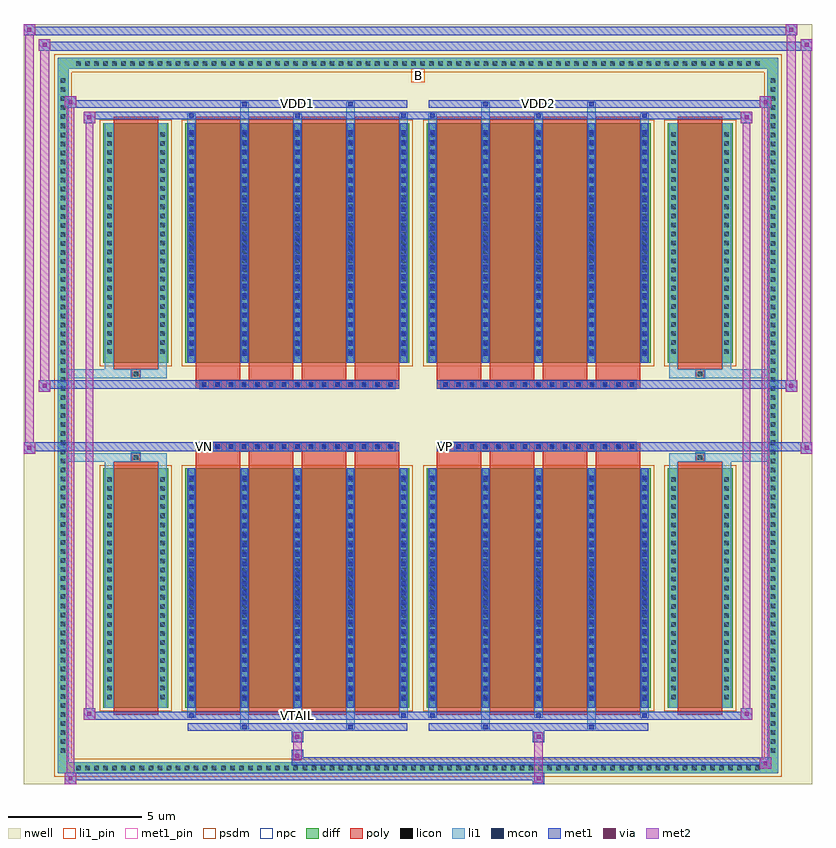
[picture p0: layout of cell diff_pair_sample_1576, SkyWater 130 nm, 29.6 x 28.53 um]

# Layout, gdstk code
import gdstk
lib = gdstk.Library(unit=1e-6, precision=5e-09)
def R(c, l, rs):  # rectangles x0, y0, x1, y1
    for r in rs: c.add(gdstk.rectangle(r[:2], r[2:], *l))
def A(c, l, x, y, w, h, nx, ny, dx, dy):  # array of equal rectangles
    R(c, l, [(x+i*dx, y+j*dy, x+i*dx+w, y+j*dy+h) for i in range(nx) for j in range(ny)])
def P(c, l, *ps):  # polygons
    for p in ps: c.add(gdstk.Polygon(p, *l))
nwell = (64, 20)
diff = (65, 20)
poly = (66, 20)
licon = (66, 44)
li1_pin = (67, 16)
li1 = (67, 20)
mcon = (67, 44)
met1_pin = (68, 16)
met1 = (68, 20)
via = (68, 44)
met2 = (69, 20)
psdm = (94, 20)
npc = (95, 20)

diff_pair_sample_1576 = lib.new_cell('diff_pair_sample_1576')
R(diff_pair_sample_1576, nwell, [(-14.8,-13.83,14.8,14.7), (-12.12,-12.02,-0.01,-0.8), (0.01,-12.02,12.12,-0.8), (-12.12,0.8,-0.01,12.02), (0.01,0.8,12.12,12.02)])
A(diff_pair_sample_1576, diff, -12.955, -13.43, 0.41, 0.41, 76, 2, 0.34, 26.45)
A(diff_pair_sample_1576, diff, -13.53, -12.785, 0.41, 0.41, 1, 75, 0, 0.34)
A(diff_pair_sample_1576, diff, 13.12, -12.785, 0.41, 0.41, 1, 75, 0, 0.34)
R(diff_pair_sample_1576, diff, [(-12.955,-13.43,12.955,-13.02), (-13.53,-12.785,-13.12,12.785), (13.12,-12.785,13.53,12.785), (-11.81,-10.975,-9.37,-1.985), (-8.73,-10.975,-0.32,-1.985), (0.32,-10.975,8.73,-1.985), (9.37,-10.975,11.81,-1.985), (-11.81,1.985,-9.37,10.975), (-8.73,1.985,-0.32,10.975), (0.32,1.985,8.73,10.975), (9.37,1.985,11.81,10.975), (-12.955,13.02,12.955,13.43)])
P(diff_pair_sample_1576, diff, [(13.53,13.43),(-13.53,13.43),(-13.53,-13.02),(-13.12,-13.02),(-13.12,13.02),(13.12,13.02),(13.12,-13.02),(-13.12,-13.02),(-13.53,-13.02),(-13.53,-13.43),(13.53,-13.43)])
A(diff_pair_sample_1576, poly, -8.34, -11.225, 1.66, 9.49, 4, 2, 1.99, 12.96)
A(diff_pair_sample_1576, poly, 0.71, -11.225, 1.66, 9.49, 4, 2, 1.99, 12.96)
A(diff_pair_sample_1576, poly, -8.34, -1.735, 1.66, 0.405, 4, 2, 1.99, 3.065)
A(diff_pair_sample_1576, poly, 0.71, -1.735, 1.66, 0.405, 4, 2, 1.99, 3.065)
A(diff_pair_sample_1576, poly, -8.19, -1.33, 0.33, 0.33, 15, 2, 0.5, 2.33)
A(diff_pair_sample_1576, poly, 0.86, -1.33, 0.33, 0.33, 15, 2, 0.5, 2.33)
R(diff_pair_sample_1576, poly, [(-11.42,-11.225,-9.76,-1.735), (9.76,-11.225,11.42,-1.735), (-10.755,-1.735,-10.425,-1.405), (-10.755,-1.735,-10.425,-1.405), (10.425,-1.735,10.755,-1.405), (10.425,-1.735,10.755,-1.405), (-8.34,-1.33,-0.71,-1), (0.71,-1.33,8.34,-1), (-8.34,1,-0.71,1.33), (0.71,1,8.34,1.33), (-10.755,1.405,-10.425,1.735), (-10.755,1.405,-10.425,1.735), (10.425,1.405,10.755,1.735), (10.425,1.405,10.755,1.735), (-11.42,1.735,-9.76,11.225), (9.76,1.735,11.42,11.225)])
A(diff_pair_sample_1576, licon, -12.835, -13.31, 0.17, 0.17, 76, 2, 0.34, 26.45)
A(diff_pair_sample_1576, licon, -13.41, -12.665, 0.17, 0.17, 1, 75, 0, 0.34)
A(diff_pair_sample_1576, licon, 13.24, -12.665, 0.17, 0.17, 1, 75, 0, 0.34)
A(diff_pair_sample_1576, licon, -11.67, -10.645, 0.17, 0.17, 1, 25, 0, 0.34)
A(diff_pair_sample_1576, licon, -9.68, -10.645, 0.17, 0.17, 1, 25, 0, 0.34)
A(diff_pair_sample_1576, licon, -8.59, -10.645, 0.17, 0.17, 5, 25, 1.99, 0.34)
A(diff_pair_sample_1576, licon, 0.46, -10.645, 0.17, 0.17, 5, 25, 1.99, 0.34)
A(diff_pair_sample_1576, licon, 9.51, -10.645, 0.17, 0.17, 1, 25, 0, 0.34)
A(diff_pair_sample_1576, licon, 11.5, -10.645, 0.17, 0.17, 1, 25, 0, 0.34)
A(diff_pair_sample_1576, licon, -8.11, -1.25, 0.17, 0.17, 15, 2, 0.5, 2.33)
A(diff_pair_sample_1576, licon, 0.94, -1.25, 0.17, 0.17, 15, 2, 0.5, 2.33)
A(diff_pair_sample_1576, licon, -11.67, 2.315, 0.17, 0.17, 1, 25, 0, 0.34)
A(diff_pair_sample_1576, licon, -9.68, 2.315, 0.17, 0.17, 1, 25, 0, 0.34)
A(diff_pair_sample_1576, licon, -8.59, 2.315, 0.17, 0.17, 5, 25, 1.99, 0.34)
A(diff_pair_sample_1576, licon, 0.46, 2.315, 0.17, 0.17, 5, 25, 1.99, 0.34)
A(diff_pair_sample_1576, licon, 9.51, 2.315, 0.17, 0.17, 1, 25, 0, 0.34)
A(diff_pair_sample_1576, licon, 11.5, 2.315, 0.17, 0.17, 1, 25, 0, 0.34)
R(diff_pair_sample_1576, licon, [(-10.675,-1.655,-10.505,-1.485), (10.505,-1.655,10.675,-1.485), (-10.675,1.485,-10.505,1.655), (10.505,1.485,10.675,1.655)])
R(diff_pair_sample_1576, li1_pin, [(-0.25,12.52,0.25,13.02)])
A(diff_pair_sample_1576, li1, -12.915, -13.39, 0.33, 0.33, 76, 2, 0.34, 26.45)
A(diff_pair_sample_1576, li1, -13.49, -12.745, 0.33, 0.33, 1, 75, 0, 0.34)
A(diff_pair_sample_1576, li1, 13.16, -12.745, 0.33, 0.33, 1, 75, 0, 0.34)
A(diff_pair_sample_1576, li1, -8.67, -11.35, 0.33, 0.375, 3, 2, 3.98, 22.325)
A(diff_pair_sample_1576, li1, -8.59, -11.35, 0.17, 0.17, 3, 2, 3.98, 22.53)
A(diff_pair_sample_1576, li1, 0.38, -11.35, 0.33, 0.375, 3, 2, 3.98, 22.325)
A(diff_pair_sample_1576, li1, 0.46, -11.35, 0.17, 0.17, 3, 2, 3.98, 22.53)
A(diff_pair_sample_1576, li1, -8.67, -10.975, 0.33, 8.99, 5, 2, 1.99, 12.96)
A(diff_pair_sample_1576, li1, 0.38, -10.975, 0.33, 8.99, 5, 2, 1.99, 12.96)
A(diff_pair_sample_1576, li1, -11.75, -10.725, 0.33, 0.33, 1, 25, 0, 0.34)
A(diff_pair_sample_1576, li1, -9.76, -10.725, 0.33, 0.33, 1, 25, 0, 0.34)
A(diff_pair_sample_1576, li1, -8.67, -10.725, 0.33, 0.33, 5, 25, 1.99, 0.34)
A(diff_pair_sample_1576, li1, 0.38, -10.725, 0.33, 0.33, 5, 25, 1.99, 0.34)
A(diff_pair_sample_1576, li1, 9.43, -10.725, 0.33, 0.33, 1, 25, 0, 0.34)
A(diff_pair_sample_1576, li1, 11.42, -10.725, 0.33, 0.33, 1, 25, 0, 0.34)
A(diff_pair_sample_1576, li1, -8.59, -10.705, 0.17, 0.17, 5, 24, 1.99, 0.36)
A(diff_pair_sample_1576, li1, -8.59, -10.705, 0.17, 8.45, 5, 2, 1.99, 12.96)
A(diff_pair_sample_1576, li1, 0.46, -10.705, 0.17, 0.17, 5, 24, 1.99, 0.36)
A(diff_pair_sample_1576, li1, 0.46, -10.705, 0.17, 8.45, 5, 2, 1.99, 12.96)
A(diff_pair_sample_1576, li1, -8.19, -1.33, 0.33, 0.33, 15, 2, 0.5, 2.33)
A(diff_pair_sample_1576, li1, 0.86, -1.33, 0.33, 0.33, 15, 2, 0.5, 2.33)
A(diff_pair_sample_1576, li1, -11.75, 2.235, 0.33, 0.33, 1, 25, 0, 0.34)
A(diff_pair_sample_1576, li1, -9.76, 2.235, 0.33, 0.33, 1, 25, 0, 0.34)
A(diff_pair_sample_1576, li1, -8.67, 2.235, 0.33, 0.33, 5, 25, 1.99, 0.34)
A(diff_pair_sample_1576, li1, 0.38, 2.235, 0.33, 0.33, 5, 25, 1.99, 0.34)
A(diff_pair_sample_1576, li1, 9.43, 2.235, 0.33, 0.33, 1, 25, 0, 0.34)
A(diff_pair_sample_1576, li1, 11.42, 2.235, 0.33, 0.33, 1, 25, 0, 0.34)
A(diff_pair_sample_1576, li1, -8.59, 2.255, 0.17, 0.17, 5, 24, 1.99, 0.36)
A(diff_pair_sample_1576, li1, 0.46, 2.255, 0.17, 0.17, 5, 24, 1.99, 0.36)
R(diff_pair_sample_1576, li1, [(-13.53,-13.43,-13.12,-13.02), (-13.53,-13.43,-13.12,-13.02), (-13.12,-13.43,13.12,-13.02), (13.12,-13.43,13.53,-13.02), (13.12,-13.43,13.53,-13.02), (-13.53,-13.02,-13.12,13.02), (13.12,-13.02,13.53,13.02), (-6.68,-11.78,-6.35,-10.975), (-6.6,-11.78,-6.43,-11.61), (-2.7,-11.78,-2.37,-10.975), (-2.62,-11.78,-2.45,-11.61), (2.37,-11.78,2.7,-10.975), (2.45,-11.78,2.62,-11.61), (6.35,-11.78,6.68,-10.975), (6.43,-11.78,6.6,-11.61), (-11.75,-10.975,-11.42,-1.985), (-9.76,-10.975,-9.43,-1.985), (9.43,-10.975,9.76,-1.985), (11.42,-10.975,11.75,-1.985), (-11.75,-1.985,-11.42,-1.405), (-9.76,-1.985,-9.43,-1.405), (9.43,-1.985,9.76,-1.405), (11.42,-1.985,11.75,-1.405), (-13.53,-1.735,-10.755,-1.405), (-11.75,-1.735,-10.755,-1.405), (-10.755,-1.735,-10.425,-1.405), (-10.425,-1.735,-9.43,-1.405), (9.43,-1.735,10.425,-1.405), (10.425,-1.735,10.755,-1.405), (10.425,-1.735,13.53,-1.405), (10.755,-1.735,11.75,-1.405), (-13.53,1.405,-10.755,1.735), (-11.75,1.405,-10.755,1.735), (-11.75,1.405,-11.42,1.985), (-10.755,1.405,-10.425,1.735), (-10.425,1.405,-9.43,1.735), (-9.76,1.405,-9.43,1.985), (9.43,1.405,10.425,1.735), (9.43,1.405,9.76,1.985), (10.425,1.405,10.755,1.735), (10.425,1.405,13.53,1.735), (10.755,1.405,11.75,1.735), (11.42,1.405,11.75,1.985), (-11.75,1.985,-11.42,10.975), (-9.76,1.985,-9.43,10.975), (9.43,1.985,9.76,10.975), (11.42,1.985,11.75,10.975), (-6.68,10.975,-6.35,11.78), (-2.7,10.975,-2.37,11.78), (2.37,10.975,2.7,11.78), (6.35,10.975,6.68,11.78), (-6.6,11.61,-6.43,11.78), (-2.62,11.61,-2.45,11.78), (2.45,11.61,2.62,11.78), (6.43,11.61,6.6,11.78), (-13.53,13.02,-13.12,13.43), (-13.53,13.02,-13.12,13.43), (-13.12,13.02,13.12,13.43), (13.12,13.02,13.53,13.43), (13.12,13.02,13.53,13.43)])
A(diff_pair_sample_1576, mcon, -8.59, -11.35, 0.17, 0.17, 3, 2, 3.98, 22.53)
A(diff_pair_sample_1576, mcon, 0.46, -11.35, 0.17, 0.17, 3, 2, 3.98, 22.53)
A(diff_pair_sample_1576, mcon, -8.59, -10.705, 0.17, 0.17, 5, 24, 1.99, 0.36)
A(diff_pair_sample_1576, mcon, 0.46, -10.705, 0.17, 0.17, 5, 24, 1.99, 0.36)
A(diff_pair_sample_1576, mcon, -8.11, -1.25, 0.17, 0.17, 15, 2, 0.5, 2.33)
A(diff_pair_sample_1576, mcon, 0.94, -1.25, 0.17, 0.17, 15, 2, 0.5, 2.33)
A(diff_pair_sample_1576, mcon, -8.59, 2.255, 0.17, 0.17, 5, 24, 1.99, 0.36)
A(diff_pair_sample_1576, mcon, 0.46, 2.255, 0.17, 0.17, 5, 24, 1.99, 0.36)
R(diff_pair_sample_1576, mcon, [(-6.6,-11.78,-6.43,-11.61), (-2.62,-11.78,-2.45,-11.61), (2.45,-11.78,2.62,-11.61), (6.43,-11.78,6.6,-11.61), (-6.6,11.61,-6.43,11.78), (-2.62,11.61,-2.45,11.78), (2.45,11.61,2.62,11.78), (6.43,11.61,6.6,11.78)])
R(diff_pair_sample_1576, met1_pin, [(-4.66,-11.39,-4.39,-11.12), (-8.16,-1.29,-7.89,-1.02), (0.89,-1.29,1.16,-1.02), (-4.66,11.57,-4.39,11.84), (4.39,11.57,4.66,11.84)])
A(diff_pair_sample_1576, met1, -8.65, -11.41, 0.29, 0.29, 3, 2, 3.98, 22.53)
A(diff_pair_sample_1576, met1, 0.4, -11.41, 0.29, 0.29, 3, 2, 3.98, 22.53)
A(diff_pair_sample_1576, met1, -8.65, -10.975, 0.29, 8.99, 5, 2, 1.99, 12.96)
A(diff_pair_sample_1576, met1, 0.4, -10.975, 0.29, 8.99, 5, 2, 1.99, 12.96)
A(diff_pair_sample_1576, met1, -8.65, -10.765, 0.29, 0.29, 5, 24, 1.99, 0.36)
A(diff_pair_sample_1576, met1, 0.4, -10.765, 0.29, 0.29, 5, 24, 1.99, 0.36)
A(diff_pair_sample_1576, met1, -8.17, -1.31, 0.29, 0.29, 15, 2, 0.5, 2.33)
A(diff_pair_sample_1576, met1, 0.88, -1.31, 0.29, 0.29, 15, 2, 0.5, 2.33)
A(diff_pair_sample_1576, met1, -8.65, 2.195, 0.29, 0.29, 5, 24, 1.99, 0.36)
A(diff_pair_sample_1576, met1, 0.4, 2.195, 0.29, 0.29, 5, 24, 1.99, 0.36)
R(diff_pair_sample_1576, met1, [(-13.26,-13.83,-12.83,-13.4), (4.31,-13.83,4.74,-13.4), (-13.26,-13.69,4.74,-13.4), (12.83,-13.26,13.26,-12.83), (-4.74,-13.12,13.26,-12.83), (-4.74,-12.98,-4.31,-12.55), (-4.74,-12.27,-4.31,-11.84), (4.31,-12.27,4.74,-11.84), (-8.65,-11.84,-0.4,-11.55), (-6.66,-11.84,-6.37,-11.55), (-2.68,-11.84,-2.39,-11.55), (0.4,-11.84,8.65,-11.55), (2.39,-11.84,2.68,-11.55), (6.37,-11.84,6.66,-11.55), (-12.55,-11.41,-12.12,-10.98), (-12.55,-11.41,-8.65,-11.12), (-8.65,-11.41,-0.4,-11.12), (-0.4,-11.41,0.4,-11.12), (0.4,-11.41,8.65,-11.12), (8.65,-11.41,12.55,-11.12), (12.12,-11.41,12.55,-10.98), (-14.8,-1.43,-14.37,-1), (14.37,-1.43,14.8,-1), (-14.8,-1.33,-0.71,-1), (-8.34,-1.33,-0.71,-1), (0.71,-1.33,8.34,-1), (0.71,-1.33,14.8,-1), (-14.23,0.9,-13.8,1.33), (13.8,0.9,14.23,1.33), (-14.23,1,-8.34,1.33), (-8.34,1,-0.71,1.33), (0.71,1,8.34,1.33), (8.34,1,14.23,1.33), (-12.55,10.98,-12.12,11.41), (12.12,10.98,12.55,11.41), (-12.55,11.12,-8.65,11.41), (-8.65,11.12,-0.4,11.41), (-0.4,11.12,0.4,11.41), (0.4,11.12,8.65,11.41), (8.65,11.12,12.55,11.41), (-13.26,11.55,-12.83,11.98), (-13.26,11.55,-8.65,11.84), (-8.65,11.55,-0.4,11.84), (-6.66,11.55,-6.37,11.84), (-2.68,11.55,-2.39,11.84), (0.4,11.55,8.65,11.84), (2.39,11.55,2.68,11.84), (6.37,11.55,6.66,11.84), (8.65,11.55,13.26,11.84), (12.83,11.55,13.26,11.98), (-14.23,13.7,-13.8,14.13), (-14.23,13.7,-12.12,14.03), (-12.12,13.7,12.12,14.03), (12.12,13.7,14.8,14.03), (14.37,13.7,14.8,14.13), (-14.8,14.27,-14.37,14.7), (-14.8,14.27,-12.12,14.6), (-12.12,14.27,12.12,14.6), (12.12,14.27,14.23,14.6), (13.8,14.27,14.23,14.7)])
R(diff_pair_sample_1576, via, [(-13.12,-13.69,-12.97,-13.54), (4.45,-13.69,4.6,-13.54), (12.97,-13.12,13.12,-12.97), (-4.6,-12.84,-4.45,-12.69), (-4.6,-12.13,-4.45,-11.98), (4.45,-12.13,4.6,-11.98), (-12.41,-11.27,-12.26,-11.12), (12.26,-11.27,12.41,-11.12), (-14.66,-1.29,-14.51,-1.14), (14.51,-1.29,14.66,-1.14), (-14.09,1.04,-13.94,1.19), (13.94,1.04,14.09,1.19), (-12.41,11.12,-12.26,11.27), (12.26,11.12,12.41,11.27), (-13.12,11.69,-12.97,11.84), (12.97,11.69,13.12,11.84), (-14.09,13.84,-13.94,13.99), (14.51,13.84,14.66,13.99), (-14.66,14.41,-14.51,14.56), (13.94,14.41,14.09,14.56)])
R(diff_pair_sample_1576, met2, [(-13.26,-13.83,-12.83,-13.4), (-13.19,-13.83,-12.9,11.98), (-12.9,-13.83,-12.83,-13.4), (-13.21,-13.78,-12.88,-13.45), (4.36,-13.78,4.69,-13.45), (4.36,-13.45,4.69,-12.22), (12.83,-13.26,13.26,-12.83), (12.9,-13.26,13.19,11.98), (13.19,-13.26,13.26,-12.83), (12.88,-13.21,13.21,-12.88), (-4.69,-12.93,-4.36,-12.6), (-4.69,-12.6,-4.36,-12.22), (-4.69,-12.22,-4.36,-11.89), (4.36,-12.22,4.69,-11.89), (-12.55,-11.41,-12.12,-10.98), (-12.48,-11.41,-12.19,11.41), (-12.19,-11.41,-12.12,-10.98), (12.12,-11.41,12.55,-10.98), (12.19,-11.41,12.48,11.41), (12.48,-11.41,12.55,-10.98), (-12.5,-11.36,-12.17,-11.03), (12.17,-11.36,12.5,-11.03), (-14.8,-1.43,-14.37,-1), (-14.75,-1.43,-14.42,14.7), (-14.42,-1.43,-14.37,-1), (14.37,-1.43,14.8,-1), (14.42,-1.43,14.75,14.13), (14.75,-1.43,14.8,-1), (-14.75,-1.38,-14.42,-1.05), (14.42,-1.38,14.75,-1.05), (-14.23,0.9,-13.8,1.33), (-14.18,0.9,-13.85,14.13), (-13.85,0.9,-13.8,1.33), (13.8,0.9,14.23,1.33), (13.85,0.9,14.18,14.7), (14.18,0.9,14.23,1.33), (-14.18,0.95,-13.85,1.28), (13.85,0.95,14.18,1.28), (-12.55,10.98,-12.12,11.41), (-12.19,10.98,-12.12,11.41), (12.12,10.98,12.55,11.41), (12.48,10.98,12.55,11.41), (-12.5,11.03,-12.17,11.36), (12.17,11.03,12.5,11.36), (-13.26,11.55,-12.83,11.98), (-12.9,11.55,-12.83,11.98), (12.83,11.55,13.26,11.98), (13.19,11.55,13.26,11.98), (-13.21,11.6,-12.88,11.93), (12.88,11.6,13.21,11.93), (-14.23,13.7,-13.8,14.13), (-13.85,13.7,-13.8,14.13), (14.37,13.7,14.8,14.13), (14.75,13.7,14.8,14.13), (-14.18,13.75,-13.85,14.08), (14.42,13.75,14.75,14.08), (-14.8,14.27,-14.37,14.7), (-14.42,14.27,-14.37,14.7), (13.8,14.27,14.23,14.7), (14.18,14.27,14.23,14.7), (-14.75,14.32,-14.42,14.65), (13.85,14.32,14.18,14.65)])
R(diff_pair_sample_1576, psdm, [(-11.94,-11.105,-9.24,-1.855), (-8.86,-11.105,-0.19,-1.855), (0.19,-11.105,8.86,-1.855), (9.24,-11.105,11.94,-1.855), (-11.94,1.855,-9.24,11.105), (-8.86,1.855,-0.19,11.105), (0.19,1.855,8.86,11.105), (9.24,1.855,11.94,11.105)])
P(diff_pair_sample_1576, psdm, [(13.66,13.56),(-13.66,13.56),(-13.66,-12.89),(-12.99,-12.89),(-12.99,12.89),(12.99,12.89),(12.99,-12.89),(-12.99,-12.89),(-13.66,-12.89),(-13.66,-13.56),(13.66,-13.56)])
A(diff_pair_sample_1576, npc, -8.21, -1.35, 0.37, 0.37, 15, 2, 0.5, 2.33)
A(diff_pair_sample_1576, npc, 0.84, -1.35, 0.37, 0.37, 15, 2, 0.5, 2.33)
R(diff_pair_sample_1576, npc, [(-10.775,-1.755,-10.405,-1.385), (10.405,-1.755,10.775,-1.385), (-8.21,-1.35,-7.34,-0.98), (-8.21,-1.35,-7.34,-0.98), (-7.71,-1.35,-6.84,-0.98), (-7.71,-1.35,-6.84,-0.98), (-7.21,-1.35,-6.34,-0.98), (-7.21,-1.35,-6.34,-0.98), (-6.71,-1.35,-5.84,-0.98), (-6.71,-1.35,-5.84,-0.98), (-6.21,-1.35,-5.34,-0.98), (-6.21,-1.35,-5.34,-0.98), (-5.71,-1.35,-4.84,-0.98), (-5.71,-1.35,-4.84,-0.98), (-5.21,-1.35,-4.34,-0.98), (-5.21,-1.35,-4.34,-0.98), (-4.71,-1.35,-3.84,-0.98), (-4.71,-1.35,-3.84,-0.98), (-4.21,-1.35,-3.34,-0.98), (-4.21,-1.35,-3.34,-0.98), (-3.71,-1.35,-2.84,-0.98), (-3.71,-1.35,-2.84,-0.98), (-3.21,-1.35,-2.34,-0.98), (-3.21,-1.35,-2.34,-0.98), (-2.71,-1.35,-1.84,-0.98), (-2.71,-1.35,-1.84,-0.98), (-2.21,-1.35,-1.34,-0.98), (-2.21,-1.35,-1.34,-0.98), (-1.71,-1.35,-0.84,-0.98), (-1.71,-1.35,-0.84,-0.98), (0.84,-1.35,1.71,-0.98), (0.84,-1.35,1.71,-0.98), (1.34,-1.35,2.21,-0.98), (1.34,-1.35,2.21,-0.98), (1.84,-1.35,2.71,-0.98), (1.84,-1.35,2.71,-0.98), (2.34,-1.35,3.21,-0.98), (2.34,-1.35,3.21,-0.98), (2.84,-1.35,3.71,-0.98), (2.84,-1.35,3.71,-0.98), (3.34,-1.35,4.21,-0.98), (3.34,-1.35,4.21,-0.98), (3.84,-1.35,4.71,-0.98), (3.84,-1.35,4.71,-0.98), (4.34,-1.35,5.21,-0.98), (4.34,-1.35,5.21,-0.98), (4.84,-1.35,5.71,-0.98), (4.84,-1.35,5.71,-0.98), (5.34,-1.35,6.21,-0.98), (5.34,-1.35,6.21,-0.98), (5.84,-1.35,6.71,-0.98), (5.84,-1.35,6.71,-0.98), (6.34,-1.35,7.21,-0.98), (6.34,-1.35,7.21,-0.98), (6.84,-1.35,7.71,-0.98), (6.84,-1.35,7.71,-0.98), (7.34,-1.35,8.21,-0.98), (7.34,-1.35,8.21,-0.98), (-8.21,0.98,-7.34,1.35), (-8.21,0.98,-7.34,1.35), (-7.71,0.98,-6.84,1.35), (-7.71,0.98,-6.84,1.35), (-7.21,0.98,-6.34,1.35), (-7.21,0.98,-6.34,1.35), (-6.71,0.98,-5.84,1.35), (-6.71,0.98,-5.84,1.35), (-6.21,0.98,-5.34,1.35), (-6.21,0.98,-5.34,1.35), (-5.71,0.98,-4.84,1.35), (-5.71,0.98,-4.84,1.35), (-5.21,0.98,-4.34,1.35), (-5.21,0.98,-4.34,1.35), (-4.71,0.98,-3.84,1.35), (-4.71,0.98,-3.84,1.35), (-4.21,0.98,-3.34,1.35), (-4.21,0.98,-3.34,1.35), (-3.71,0.98,-2.84,1.35), (-3.71,0.98,-2.84,1.35), (-3.21,0.98,-2.34,1.35), (-3.21,0.98,-2.34,1.35), (-2.71,0.98,-1.84,1.35), (-2.71,0.98,-1.84,1.35), (-2.21,0.98,-1.34,1.35), (-2.21,0.98,-1.34,1.35), (-1.71,0.98,-0.84,1.35), (-1.71,0.98,-0.84,1.35), (0.84,0.98,1.71,1.35), (0.84,0.98,1.71,1.35), (1.34,0.98,2.21,1.35), (1.34,0.98,2.21,1.35), (1.84,0.98,2.71,1.35), (1.84,0.98,2.71,1.35), (2.34,0.98,3.21,1.35), (2.34,0.98,3.21,1.35), (2.84,0.98,3.71,1.35), (2.84,0.98,3.71,1.35), (3.34,0.98,4.21,1.35), (3.34,0.98,4.21,1.35), (3.84,0.98,4.71,1.35), (3.84,0.98,4.71,1.35), (4.34,0.98,5.21,1.35), (4.34,0.98,5.21,1.35), (4.84,0.98,5.71,1.35), (4.84,0.98,5.71,1.35), (5.34,0.98,6.21,1.35), (5.34,0.98,6.21,1.35), (5.84,0.98,6.71,1.35), (5.84,0.98,6.71,1.35), (6.34,0.98,7.21,1.35), (6.34,0.98,7.21,1.35), (6.84,0.98,7.71,1.35), (6.84,0.98,7.71,1.35), (7.34,0.98,8.21,1.35), (7.34,0.98,8.21,1.35), (-10.775,1.385,-10.405,1.755), (10.405,1.385,10.775,1.755)])
diff_pair_sample_1576.add(gdstk.Label('VTAIL', (-4.525,-11.255), layer=68, texttype=5))
diff_pair_sample_1576.add(gdstk.Label('VN', (-8.025,-1.155), layer=68, texttype=5))
diff_pair_sample_1576.add(gdstk.Label('VP', (1.025,-1.155), layer=68, texttype=5))
diff_pair_sample_1576.add(gdstk.Label('B', (0,12.77), layer=67, texttype=5))
diff_pair_sample_1576.add(gdstk.Label('VDD2', (4.525,11.705), layer=68, texttype=5))
diff_pair_sample_1576.add(gdstk.Label('VDD1', (-4.525,11.705), layer=68, texttype=5))

lib.write_gds('diff_pair_sample_1576.gds')
